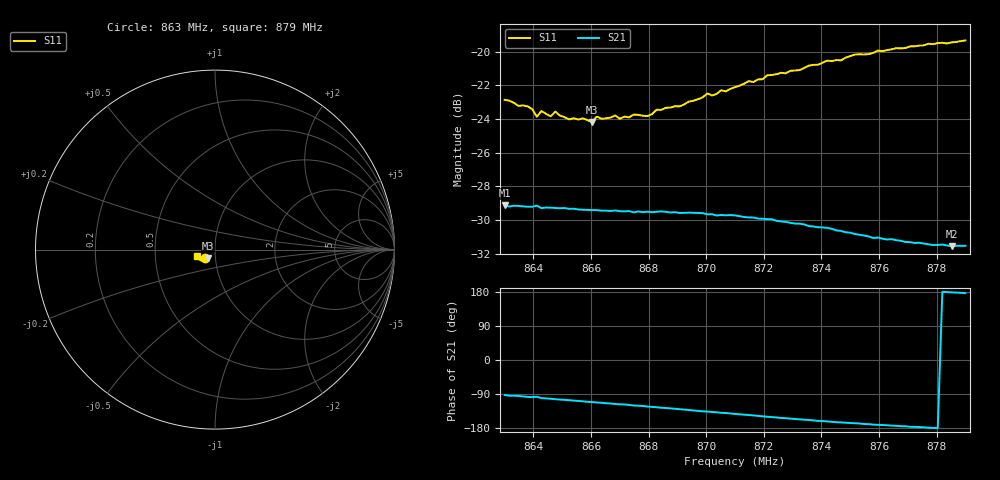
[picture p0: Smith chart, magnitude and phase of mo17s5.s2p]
# HZ S RI R 50
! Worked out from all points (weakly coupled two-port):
!   101 points, 863 MHz to 879 MHz, reference 50 ohm
!   highest |S21| = -29.14 dB at 863 MHz (marker M1); lowest = -31.6 dB at 878.52 MHz (marker M2)
!   lowest |S11| = -24.2 dB at 866.04 MHz (marker M3), VSWR 1.13, Z = 46 - j4.34 ohm
!   |S11| at or under -10 dB: start of sweep to end of sweep
!   S12 and S22 are empty: the file has one direction only
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8.63e8  -0.0535 -0.048  -0.00134 -0.0349  0 0  0 0
8.638e8  -0.0496 -0.0475  -0.00447 -0.0343  0 0  0 0
8.6412e8  -0.0446 -0.0459  -0.00433 -0.0346  0 0  0 0
8.6428e8  -0.0467 -0.0475  -0.00629 -0.0337  0 0  0 0
8.646e8  -0.0455 -0.0453  -0.0073 -0.0336  0 0  0 0
8.6476e8  -0.0471 -0.0467  -0.00804 -0.0333  0 0  0 0
8.6524e8  -0.0434 -0.0455  -0.00948 -0.0328  0 0  0 0
8.6572e8  -0.0416 -0.0478  -0.011 -0.032  0 0  0 0
8.6604e8  -0.04 -0.047  -0.0121 -0.0316  0 0  0 0
8.662e8  -0.0418 -0.0487  -0.0128 -0.0313  0 0  0 0
8.6636e8  -0.0424 -0.0468  -0.013 -0.0311  0 0  0 0
8.6684e8  -0.0403 -0.0505  -0.0149 -0.0303  0 0  0 0
8.67e8  -0.0386 -0.05  -0.0152 -0.0299  0 0  0 0
8.6748e8  -0.0384 -0.0524  -0.0167 -0.0288  0 0  0 0
8.6796e8  -0.0378 -0.0521  -0.0181 -0.0281  0 0  0 0
8.6844e8  -0.0386 -0.0548  -0.0197 -0.0271  0 0  0 0
8.71e8  -0.0464 -0.0632  -0.0258 -0.0199  0 0  0 0
8.7212e8  -0.0539 -0.0658  -0.0274 -0.016  0 0  0 0
8.7372e8  -0.0631 -0.066  -0.0283 -0.0106  0 0  0 0
8.7644e8  -0.0856 -0.0546  -0.0275 -0.0033  0 0  0 0
8.7852e8  -0.0989 -0.0396  -0.0264 0.000788  0 0  0 0
8.79e8  -0.1025 -0.0337  -0.0264 0.0016  0 0  0 0
